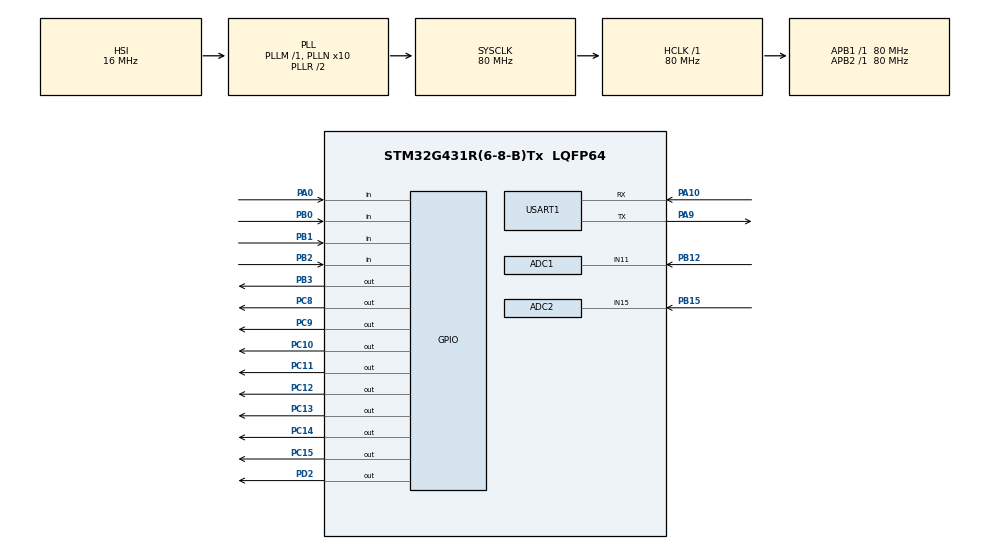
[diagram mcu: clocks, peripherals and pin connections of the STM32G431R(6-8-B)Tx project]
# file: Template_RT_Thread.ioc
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ADC1.Channel-0\#ChannelRegularConversion=ADC_CHANNEL_11
ADC1.NbrOfConversionFlag=1
ADC1.OffsetNumber-0\#ChannelRegularConversion=ADC_OFFSET_NONE
ADC1.Rank-0\#ChannelRegularConversion=1
ADC1.SamplingTime-0\#ChannelRegularConversion=ADC_SAMPLETIME_2CYCLES_5
ADC1.master=1
ADC2.Channel-0\#ChannelRegularConversion=ADC_CHANNEL_15
ADC2.NbrOfConversionFlag=1
ADC2.OffsetNumber-0\#ChannelRegularConversion=ADC_OFFSET_NONE
ADC2.Rank-0\#ChannelRegularConversion=1
ADC2.SamplingTime-0\#ChannelRegularConversion=ADC_SAMPLETIME_2CYCLES_5
Mcu.Family=STM32G4
Mcu.Name=STM32G431R(6-8-B)Tx
Mcu.Package=LQFP64
NVIC.PriorityGroup=NVIC_PRIORITYGROUP_4
NVIC.TIM1_UP_TIM16_IRQn=true\:15\:0\:false\:false\:true\:false\:false\:true\:true
NVIC.TimeBase=TIM1_UP_TIM16_IRQn
NVIC.TimeBaseIP=TIM1
PA0.Signal=GPIO_Input
PA10.Mode=Asynchronous
PA10.Signal=USART1_RX
PA13.Mode=Serial_Wire
PA13.Signal=SYS_JTMS-SWDIO
PA14.Mode=Serial_Wire
PA14.Signal=SYS_JTCK-SWCLK
PA9.Mode=Asynchronous
PA9.Signal=USART1_TX
PB0.Signal=GPIO_Input
PB1.Signal=GPIO_Input
PB12.Mode=IN11-Single-Ended
PB12.Signal=ADC1_IN11
PB15.Mode=IN15-Single-Ended
PB15.Signal=ADC2_IN15
PB2.Signal=GPIO_Input
PB3.Signal=GPIO_Output
PC10.Signal=GPIO_Output
PC11.Signal=GPIO_Output
PC12.Signal=GPIO_Output
PC13.Signal=GPIO_Output
PC14-OSC32_IN.Signal=GPIO_Output
PC15-OSC32_OUT.Signal=GPIO_Output
PC8.Signal=GPIO_Output
PC9.Signal=GPIO_Output
PD2.Signal=GPIO_Output
PF0-OSC_IN.Mode=HSE-External-Oscillator
PF0-OSC_IN.Signal=RCC_OSC_IN
PF1-OSC_OUT.Mode=HSE-External-Oscillator
PF1-OSC_OUT.Signal=RCC_OSC_OUT
ProjectManager.HeapSize=0x200
ProjectManager.StackSize=0x400
ProjectManager.TargetToolchain=MDK-ARM V5.32
RCC.ADC12Freq_Value=80000000
RCC.AHBFreq_Value=80000000
RCC.APB1Freq_Value=80000000
RCC.APB1TimFreq_Value=80000000
RCC.APB2Freq_Value=80000000
RCC.APB2TimFreq_Value=80000000
RCC.CortexFreq_Value=80000000
RCC.EXTERNAL_CLOCK_VALUE=12288000
RCC.HCLKFreq_Value=80000000
RCC.HSE_VALUE=24000000
RCC.HSI48_VALUE=48000000
RCC.HSI_VALUE=16000000
RCC.LSE_VALUE=32768
RCC.PLLN=10
RCC.SYSCLKFreq_VALUE=80000000
RCC.SYSCLKSource=RCC_SYSCLKSOURCE_PLLCLK
RCC.USBFreq_Value=80000000
RCC.VCOOutputFreq_Value=160000000
RealThread.RT-Thread.3.1.5.RTOSJjdevice=true
RealThread.RT-Thread.3.1.5.RTOSJjkernel=true
RealThread.RT-Thread.3.1.5.RTOSJjshell=true
TIM6.PeriodNoDither=9999
TIM6.Prescaler=79
USART1.VirtualMode-Asynchronous=VM_ASYNC
VP_RealThread.RT-Thread_VS_RTOSJjdevice_3.1.5_3.1.5.Mode=RTOSJjdevice
VP_RealThread.RT-Thread_VS_RTOSJjkernel_3.1.5_3.1.5.Mode=RTOSJjkernel
VP_RealThread.RT-Thread_VS_RTOSJjshell_3.1.5_3.1.5.Mode=RTOSJjshell
VP_SYS_VS_DBSignals.Mode=DisableDeadBatterySignals
VP_SYS_VS_tim1.Mode=TIM1
VP_TIM6_VS_ClockSourceINT.Mode=Enable_Timer
board=custom

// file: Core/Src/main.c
/* USER CODE BEGIN Header */
/**
  ******************************************************************************
  * @file           : main.c
  * @brief          : Main program body
  ******************************************************************************
  * @attention
  *
  * Copyright (c) 2023 STMicroelectronics.
  * All rights reserved.
  *
  * This software is licensed under terms that can be found in the LICENSE file
  * in the root directory of this software component.
  * If no LICENSE file comes with this software, it is provided AS-IS.
  *
  ******************************************************************************
  */
/* USER CODE END Header */
#include "main.h"
#include "adc.h"
#include "tim.h"
#include "usart.h"
#include "gpio.h"

/* USER CODE BEGIN Includes */
#include "lcd.h"
#include <rtthread.h>
#include "stdio.h"

/* USER CODE END Includes */

/* USER CODE BEGIN PTD */
typedef enum
{
	key_check,
	key_press,
	key_release,
	key_over
}key_start;

/* USER CODE END PTD */

/* USER CODE BEGIN PD */
#define B1 HAL_GPIO_ReadPin(GPIOB, GPIO_PIN_0)
#define B2 HAL_GPIO_ReadPin(GPIOB, GPIO_PIN_1)
#define B3 HAL_GPIO_ReadPin(GPIOB, GPIO_PIN_2)
#define B4 HAL_GPIO_ReadPin(GPIOA, GPIO_PIN_0)

#define BUZZ_ON   HAL_GPIO_WritePin(GPIOB, GPIO_PIN_3, GPIO_PIN_RESET)
#define BUZZ_OFF  HAL_GPIO_WritePin(GPIOB, GPIO_PIN_3, GPIO_PIN_SET)

#define key1_event (0x01 << 1)
#define key2_event (0x01 << 2)
#define key3_event (0x01 << 3)
#define key4_event (0x01 << 4)
#define key5_event (0x01 << 5)
#define key6_event (0x01 << 6)
#define key7_event (0x01 << 7)
#define key8_event (0x01 << 8)
#define key9_event (0x01 << 9)
/* USER CODE END PD */

/* USER CODE BEGIN PV */
key_start keystart = key_check;
uint8_t key_value;
uint32_t key_press_time = 20;
char str[20];
uint8_t interface = 1;
uint8_t gata = 1;
uint16_t LED_ALL = 0XFFFF;

/* 定义线程控制块 */
static rt_thread_t send_thread = RT_NULL;         //消息发送
static rt_thread_t LED_thread = RT_NULL;          //LED闪烁
static rt_thread_t key_thread = RT_NULL;          //按键扫描

static rt_thread_t KeyScan_thread = RT_NULL;      //按键获取
static void KeyScan_thread_entry(void *parameter);
/* 定义事件控制块 */
static rt_event_t key_event = RT_NULL;

/* USER CODE END PV */

void SystemClock_Config(void);
/* USER CODE BEGIN PFP */
void LED_Close(void);
void LED_ON(uint8_t n);
void LED_OFF(uint8_t n);
static void key_thread_entry(void *parameter);
/* USER CODE END PFP */

/* USER CODE BEGIN 0 */
uint16_t getADC_R37(void)
{
	uint16_t adc = 0;

	HAL_ADC_Start(&hadc2);
	HAL_ADC_PollForConversion(&hadc2,2);
	adc = HAL_ADC_GetValue(&hadc2);
	HAL_ADC_Stop(&hadc2);

	return adc;
}

uint16_t getADC_R38(void)
{
	uint16_t adc = 0;

	HAL_ADC_Start(&hadc1);
	HAL_ADC_PollForConversion(&hadc1,2);
	adc = HAL_ADC_GetValue(&hadc1);
	HAL_ADC_Stop(&hadc1);

	return adc;
}

static void send_thread_entry(void *parameter)
{
	uint16_t R37_data;
	uint16_t R38_data;
	while(1)
	{
		if(interface)
		{
			R37_data = getADC_R37();
			R38_data = getADC_R38();
			rt_kprintf("R37: %d\n", R37_data);
			rt_kprintf("R38: %d\n", R38_data);
		}
		else rt_kprintf("阈值: %d\n", gata);
		sprintf(str,"  r37: %d  ",R37_data);
		LCD_DisplayStringLine(Line3,(unsigned char *)str);

		sprintf(str,"  r38: %d  ",R38_data);
		LCD_DisplayStringLine(Line5,(unsigned char *)str);

//		rt_mq_send(adc_mq, &R37_data, sizeof(R37_data));
//		rt_mq_send(adc_mq, &R38_data, sizeof(R38_data));

		rt_thread_delay(1000);
	}
}

static void LED_thread_entry(void* parameter)
{

	while(1)
	{
		LED_ON(1);
		BUZZ_OFF;
		rt_thread_mdelay(500);

//		BUZZ_OFF;
		rt_thread_mdelay(500);
	}

}

/* USER CODE END 0 */

int main(void)
{

  /* MCU Configuration--------------------------------------------------------*/

  /* Reset of all peripherals, Initializes the Flash interface and the Systick. */
  HAL_Init();

  /* Configure the system clock */
  SystemClock_Config();

  /* Initialize all configured peripherals */
  MX_GPIO_Init();
  MX_ADC1_Init();
  MX_ADC2_Init();
  MX_TIM6_Init();
  MX_USART1_UART_Init();
  /* USER CODE BEGIN 2 */
//	rt_hw_board_init();
	BUZZ_OFF;
	LED_OFF(1);
	LED_Close();
	LCD_Init();
	LCD_Clear(Black);
	LCD_SetTextColor(Blue);
	LCD_SetBackColor(Black);
	LCD_DisplayStringLine(Line0,(unsigned char *)"       TEST         ");
	LCD_DisplayStringLine(Line1,(unsigned char *)"     RT_Thread      ");
	LCD_DisplayStringLine(Line2,(unsigned char *)"                    ");
	LCD_DisplayStringLine(Line3,(unsigned char *)"                    ");
	LCD_DisplayStringLine(Line4,(unsigned char *)"                    ");
	LCD_DisplayStringLine(Line5,(unsigned char *)"                    ");
	LCD_DisplayStringLine(Line6,(unsigned char *)"                    ");
	LCD_DisplayStringLine(Line7,(unsigned char *)"                    ");
	LCD_DisplayStringLine(Line8,(unsigned char *)"                    ");
	LCD_DisplayStringLine(Line9,(unsigned char *)"                    ");

	rt_kprintf("RT_Thread综合测试仅限203内部交流\n");
	rt_kprintf("     切记：    禁止传阅！\n");
	rt_kprintf("RT_Thread综合测试仅限203内部交流\n");
	rt_kprintf("     切记：    禁止传阅！\n");
	rt_kprintf("RT_Thread综合测试仅限203内部交流\n");
	rt_kprintf("     切记：    禁止传阅！\n");
	rt_kprintf("     切记：    禁止传阅！\n");
	rt_kprintf("     切记：    禁止传阅！\n");
	rt_kprintf("     切记：    禁止传阅！\n");
	rt_kprintf("*********************************\n");
	rt_kprintf("*********************************\n");
	rt_kprintf("*********************************\n");
	rt_kprintf("     如果同意：\n");
	rt_kprintf("     请输入命令StartTest,开始测试！\n");

}

void StartTest(void)
{
	key_event = rt_event_create("key_event", RT_IPC_FLAG_FIFO);   //事件
	rt_event_send(key_event, key2_event);

	key_thread =  rt_thread_create( "key_thread",key_thread_entry,RT_NULL,256,3,20);
	rt_thread_startup(key_thread);

	KeyScan_thread =  rt_thread_create( "KeyScan_thread",KeyScan_thread_entry,RT_NULL,256,3,20);
	rt_thread_startup(KeyScan_thread);

	send_thread = rt_thread_create( "send",send_thread_entry,RT_NULL,256,3,20);
	rt_thread_startup(send_thread);
	LED_thread  = rt_thread_create( "LED",LED_thread_entry,RT_NULL,256,3,20);
	rt_thread_startup(LED_thread);
}
MSH_CMD_EXPORT(StartTest, Test Project);

void SystemClock_Config(void)
{
  RCC_OscInitTypeDef RCC_OscInitStruct = {0};
  RCC_ClkInitTypeDef RCC_ClkInitStruct = {0};

  /** Configure the main internal regulator output voltage
  */
  HAL_PWREx_ControlVoltageScaling(PWR_REGULATOR_VOLTAGE_SCALE1);

  /** Initializes the RCC Oscillators according to the specified parameters
  * in the RCC_OscInitTypeDef structure.
  */
  RCC_OscInitStruct.OscillatorType = RCC_OSCILLATORTYPE_HSI;
  RCC_OscInitStruct.HSIState = RCC_HSI_ON;
  RCC_OscInitStruct.HSICalibrationValue = RCC_HSICALIBRATION_DEFAULT;
  RCC_OscInitStruct.PLL.PLLState = RCC_PLL_ON;
  RCC_OscInitStruct.PLL.PLLSource = RCC_PLLSOURCE_HSI;
  RCC_OscInitStruct.PLL.PLLM = RCC_PLLM_DIV1;
  RCC_OscInitStruct.PLL.PLLN = 10;
  RCC_OscInitStruct.PLL.PLLP = RCC_PLLP_DIV2;
  RCC_OscInitStruct.PLL.PLLQ = RCC_PLLQ_DIV2;
  RCC_OscInitStruct.PLL.PLLR = RCC_PLLR_DIV2;
  if (HAL_RCC_OscConfig(&RCC_OscInitStruct) != HAL_OK)
  {
    Error_Handler();
  }

  /** Initializes the CPU, AHB and APB buses clocks
  */
  RCC_ClkInitStruct.ClockType = RCC_CLOCKTYPE_HCLK|RCC_CLOCKTYPE_SYSCLK
                              |RCC_CLOCKTYPE_PCLK1|RCC_CLOCKTYPE_PCLK2;
  RCC_ClkInitStruct.SYSCLKSource = RCC_SYSCLKSOURCE_PLLCLK;
  RCC_ClkInitStruct.AHBCLKDivider = RCC_SYSCLK_DIV1;
  RCC_ClkInitStruct.APB1CLKDivider = RCC_HCLK_DIV1;
  RCC_ClkInitStruct.APB2CLKDivider = RCC_HCLK_DIV1;

  if (HAL_RCC_ClockConfig(&RCC_ClkInitStruct, FLASH_LATENCY_2) != HAL_OK)
  {
    Error_Handler();
  }
}

/* USER CODE BEGIN 4 */

void LED_Close(void)
{
	HAL_GPIO_WritePin(GPIOC,GPIO_PIN_8|GPIO_PIN_9|GPIO_PIN_10|GPIO_PIN_11|GPIO_PIN_12|GPIO_PIN_13
	                        |GPIO_PIN_14|GPIO_PIN_15,GPIO_PIN_SET);
	HAL_GPIO_WritePin(GPIOD,GPIO_PIN_2,GPIO_PIN_SET);
	HAL_GPIO_WritePin(GPIOD,GPIO_PIN_2,GPIO_PIN_RESET);
}

void LED_ON(uint8_t n)
{
	LED_ALL &= ((0XFEFF << (n - 1)) | (0XFEFF >> (16 - n + 1)));
	GPIOC->ODR = LED_ALL;
	HAL_GPIO_WritePin(GPIOD,GPIO_PIN_2,GPIO_PIN_SET);
	HAL_GPIO_WritePin(GPIOD,GPIO_PIN_2,GPIO_PIN_RESET);
}

void LED_OFF(uint8_t n)
{
	LED_ALL |= ((0X0100 << (n - 1)) | (0X0100 >> (16 - n + 1)));
	GPIOC->ODR = LED_ALL;
	HAL_GPIO_WritePin(GPIOD,GPIO_PIN_2,GPIO_PIN_SET);
	HAL_GPIO_WritePin(GPIOD,GPIO_PIN_2,GPIO_PIN_RESET);
}

static void key_thread_entry(void *parameter)
{
	rt_uint32_t recved;

	while(1)
	{
		rt_event_recv(key_event, key1_event|key2_event|key3_event|key4_event,
						RT_EVENT_FLAG_OR|RT_EVENT_FLAG_CLEAR, RT_WAITING_FOREVER, &recved);

		if(recved == key1_event)
		{
			interface = !interface;
			if(interface)
			rt_kprintf("界面1：电压\n");
			else rt_kprintf("界面2：阈值\n");
		}
		else if(recved == key2_event)
		{

		}
		else if(recved == key3_event)
		{
      BUZZ_ON;
			rt_kprintf("蜂鸣器响\n");
		}
		else if(recved == key4_event)
		{
			rt_kprintf("蜂鸣器灭\n");
      BUZZ_OFF;
		}
		rt_thread_delay(10);
	}
}

static void KeyScan_thread_entry(void *parameter)
{
	while(1)
	{
		switch(keystart)
		{
			case key_check :
			{
				if(B1 == 0 | B2 == 0 | B3 == 0 |B4 == 0)
				{
					keystart = key_press ;
				}
			}break;
			case key_press :
			{
				if(B1 == 0)rt_event_send(key_event, key1_event);
				else if(B2 == 0)rt_event_send(key_event, key2_event);
				else if(B3 == 0)rt_event_send(key_event, key3_event);
				else if(B4 == 0)rt_event_send(key_event, key4_event);
				keystart = key_release ;
			}break;
			case key_release :
			{
				if(B1 == 0 | B2 == 0 | B3 == 0 |B4 == 0)
				{
					key_press_time = key_press_time + 10;
				}
				else
				{
					keystart = key_check;
				}
			}break;
			default : break;
		}
		rt_thread_delay(10);
	}
}
/* USER CODE END 4 */

void HAL_TIM_PeriodElapsedCallback(TIM_HandleTypeDef *htim)
{
  if (htim->Instance == TIM1) {
    HAL_IncTick();
  }
}

void Error_Handler(void)
{
  __disable_irq();
  while (1)
  {
  }
}
